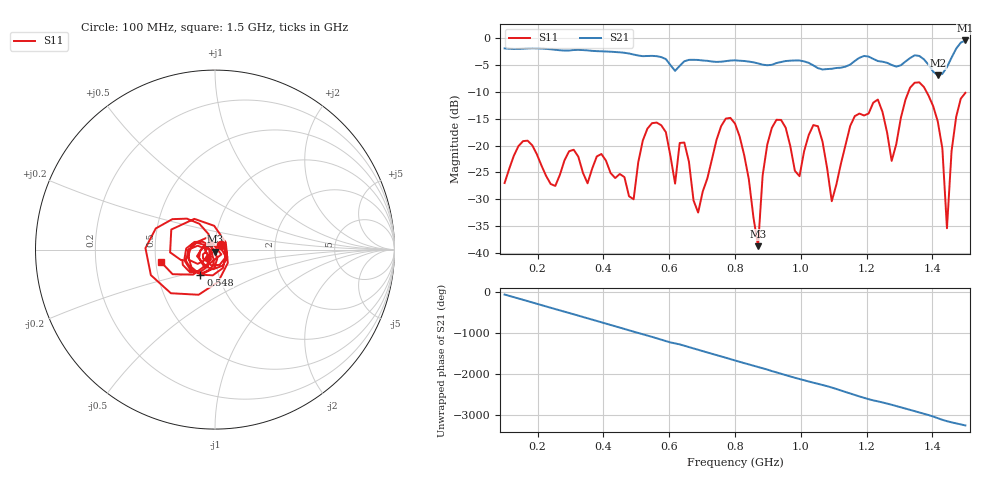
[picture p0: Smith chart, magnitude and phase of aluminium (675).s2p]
! NanoVNA-App
! Date: 2025-09-25 15:00:32
! Start: 100MHz Stop: 1,5GHz Points: 101
! S-Parameter data: F S11 S21 S12 S22
# Hz S RI R 50
!  Frequency  S11_Real  S11_Imag  S21_Real  S21_Imag  S12_Real  S12_Imag  S22_Real  S22_Imag
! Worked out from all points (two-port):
!   101 points, 100 MHz to 1.5 GHz, reference 50 ohm
!   highest |S21| = -0.44 dB at 1.5 GHz (marker M1); lowest = -6.9 dB at 1.416 GHz (marker M2)
!   |S21| within 3 dB of the highest: start of sweep to 568.3 MHz; 1.46 GHz to end of sweep (the widest 2 of 4)
!   lowest |S11| = -38.7 dB at 870 MHz (marker M3), VSWR 1.02, Z = 50.2 - j1.15 ohm
!   |S11| at or under -10 dB: start of sweep to 1.327 GHz; 1.382 GHz to end of sweep
!   S12 and S22 are empty: the file has one direction only
!   S11 on the Smith chart (normalised r, x): 100 MHz: 1.07, +0.06; 548 MHz: 0.82, -0.23; 1.5 GHz: 0.53, -0.08
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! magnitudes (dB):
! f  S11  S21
! 100 MHz  -27.0  -1.9
! 156 MHz  -19.2  -2.0
! 338 MHz  -25.1  -2.2
! 492 MHz  -30.0  -3.1
! 548 MHz  -15.8  -3.3
! 576 MHz  -16.2  -3.5
! 618 MHz  -27.1  -6.1
! 646 MHz  -19.4  -4.3
! 688 MHz  -32.5  -4.1
! 800 MHz  -15.9  -4.1
! 870 MHz  -38.7  -4.7
! 912 MHz  -16.7  -5.0
! 996 MHz  -25.7  -4.2
! 1.038 GHz  -16.2  -5.1
! 1.094 GHz  -30.3  -5.7
! 1.234 GHz  -11.4  -4.3
! 1.276 GHz  -22.9  -5.0
! 1.346 GHz  -8.3  -3.2
! 1.416 GHz  -15.5  -6.9
! 1.444 GHz  -35.4  -5.4
! 1.472 GHz  -14.6  -2.0
! 1.5 GHz  -10.2  -0.4
